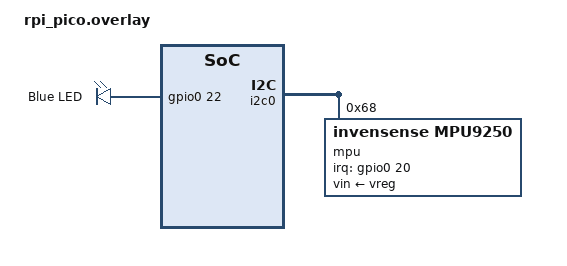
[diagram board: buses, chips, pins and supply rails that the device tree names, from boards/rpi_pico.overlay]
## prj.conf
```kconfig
# Logging settings
CONFIG_LOG=y
CONFIG_LOG_MODE_DEFERRED=y # default mode
CONFIG_LOG_MODE_IMMEDIATE=n
CONFIG_LOG_MODE_MINIMAL=n

CONFIG_LOG_DEFAULT_LEVEL=3

# rtt settings
CONFIG_UART_CONSOLE=y
# CONFIG_RTT_CONSOLE=y
# CONFIG_USE_SEGGER_RTT=y

# general settings
CONFIG_GPIO=y
CONFIG_I2C=y # for mpu
CONFIG_SENSOR=y # for mpu

# MPU9250 settings
CONFIG_MPU9250=y
```

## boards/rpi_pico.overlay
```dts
/ {
    aliases {
        led1 = &led1;
    };

    leds {
        led1: led1 {
            label = "Blue LED";
            gpios = <&gpio0 22 GPIO_ACTIVE_HIGH>;
        };
    };
};

&i2c0 {
    status = "okay";

    mpu: mpu9250@68 {
        reg = <0x68>;
        compatible = "invensense,mpu9250";
        irq-gpios = <&gpio0 20 GPIO_ACTIVE_HIGH>;

        gyro-sr-div = <0>; // maximum sample rate
        gyro-dlpf = <250>; // low pass filter frequency in Hz
        gyro-fs = <250>; // full scale range in degrees per second

        accel-fs = <2>; // full scale range in g
        accel-dlpf = "218.1"; // low pass filter frequency in Hz

        friendly-name = "mpu9250";

        vin-supply = <&vreg>; // pico 3.3V regulator
    };
};

// Se all pinmux options: 
&pinctrl {
    i2c0_default: i2c0_default {
        group1 {
            // Change the selected I2C channel 0 pins to 20 and 21
            pinmux = <I2C0_SDA_P16>, 
                     <I2C0_SCL_P17>;
        };
    };
};
```

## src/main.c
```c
/*
 * DEMO APPLICATION FOR MPU9250 SENSOR.
 * Just trying out the zephyr sensor API, as the MPU9250 will not be used in the final board.
 * This is just a demo application to test the MPU9250 sensor + a blinking LED.
 */

#include <zephyr/kernel.h>
#include <zephyr/logging/log.h>
#include <zephyr/drivers/gpio.h>
#include <zephyr/drivers/sensor.h>

/* 1000 msec = 1 sec */
#define SLEEP_TIME_MS 2000

/* The devicetree node identifier for the "led0" alias. */
#define LED1_NODE DT_ALIAS(led1)

LOG_MODULE_REGISTER(main, LOG_LEVEL_INF);

/*
 * A build error on this line means your board is unsupported.
 * See the sample documentation for information on how to fix this.
 */
static const struct gpio_dt_spec led = GPIO_DT_SPEC_GET(LED1_NODE, gpios);

static int process_mpu9250(const struct device *dev)
{
	struct sensor_value temperature;
	struct sensor_value accel[3];
	struct sensor_value gyro[3];
	int rc = sensor_sample_fetch(dev);

	if (rc == 0) {
		rc = sensor_channel_get(dev, SENSOR_CHAN_ACCEL_XYZ, accel);
	}
	if (rc == 0) {
		rc = sensor_channel_get(dev, SENSOR_CHAN_GYRO_XYZ, gyro);
	}
	if (rc == 0) {
		rc = sensor_channel_get(dev, SENSOR_CHAN_DIE_TEMP, &temperature);
	}

	if (rc == 0) {
		LOG_INF("device %s sample fetch/get succeeded", dev->name);
		LOG_INF("temperature: %d.%06d C", temperature.val1, temperature.val2);
		LOG_INF("accel: %d.%06d %d.%06d %d.%06d m/s^2", accel[0].val1, accel[0].val2,
			accel[1].val1, accel[1].val2, accel[2].val1, accel[2].val2);
		LOG_INF("gyro: %d.%06d %d.%06d %d.%06d rad/s", gyro[0].val1, gyro[0].val2,
			gyro[1].val1, gyro[1].val2, gyro[2].val1, gyro[2].val2);
	} else {
		LOG_ERR("device %s sample fetch/get failed: %d\n", dev->name, rc);
	}

	return rc;
}

int main(void)
{
	int ret;
	bool led_state = true;

	if (!gpio_is_ready_dt(&led)) {
		return 0;
	}

	ret = gpio_pin_configure_dt(&led, GPIO_OUTPUT_ACTIVE);
	if (ret < 0) {
		return 0;
	}

	const struct device *const mpu = DEVICE_DT_GET_ONE(invensense_mpu9250);
	if (!device_is_ready(mpu)) {
		LOG_ERR("MPU device %s is not ready", mpu->name);
		return 0;
	}

	while (1) {
		ret = gpio_pin_toggle_dt(&led);
		if (ret < 0) {
			return 0;
		}

		ret = process_mpu9250(mpu);
		if (ret < 0) {
			LOG_ERR("MPU9250 process failed: %d", ret);
			break;
		}

		led_state = !led_state;
		printk("LED state: %s\n", led_state ? "ON" : "OFF");

		k_msleep(SLEEP_TIME_MS);
	}
	return 0;
}
```
